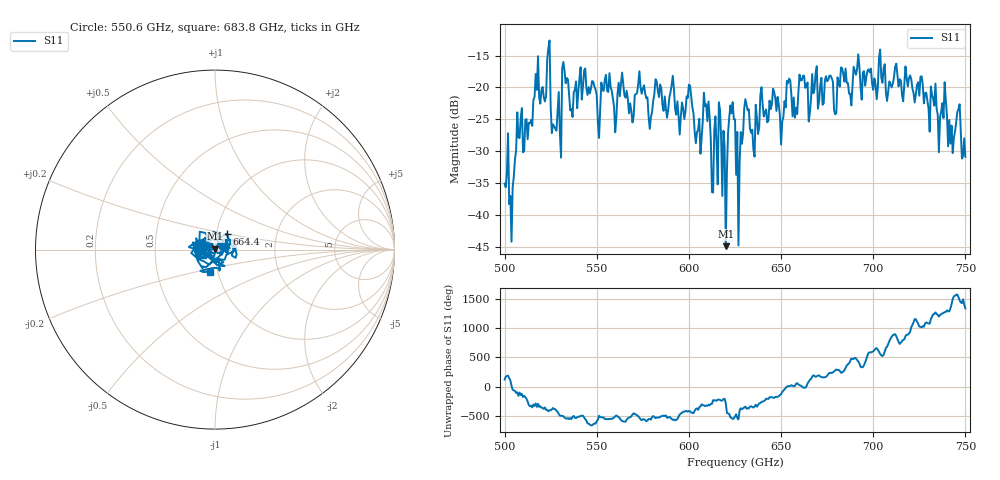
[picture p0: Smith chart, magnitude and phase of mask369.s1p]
!Created with skrf (http://scikit-rf.org).
# GHz S MA R 50.0
!freq magS11 angS11
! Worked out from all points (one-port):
!   401 points, 500 GHz to 750 GHz, reference 50 ohm
!   lowest |S11| = -44.9 dB at 620 GHz (marker M1), VSWR 1.01, Z = 50.2 + j0.545 ohm
!   |S11| at or under -10 dB: start of sweep to end of sweep
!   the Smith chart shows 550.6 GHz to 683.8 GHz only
!   S11 on the Smith chart (normalised r, x): 550.6 GHz: 0.91, +0.04; 664.4 GHz: 1.12, +0.20; 683.8 GHz: 0.91, -0.23
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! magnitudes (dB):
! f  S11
! 500 GHz  -35.1
! 503.8 GHz  -44.2
! 508.1 GHz  -28.0
! 513.8 GHz  -25.7
! 516.9 GHz  -17.9
! 523.8 GHz  -13.8
! 526.9 GHz  -26.1
! 531.2 GHz  -17.0
! 550.6 GHz  -25.6
! 562.5 GHz  -21.4
! 593.8 GHz  -22.2
! 605 GHz  -26.7
! 609.4 GHz  -22.6
! 612.5 GHz  -36.4
! 620 GHz  -44.9
! 622.5 GHz  -22.8
! 625 GHz  -25.0
! 626.9 GHz  -44.8
! 631.2 GHz  -22.7
! 634.4 GHz  -26.6
! 656.2 GHz  -24.6
! 664.4 GHz  -19.2
! 683.8 GHz  -17.9
! 687.5 GHz  -21.0
! 718.8 GHz  -19.8
! 741.9 GHz  -28.8
! 746.2 GHz  -23.4
! 750 GHz  -30.9
